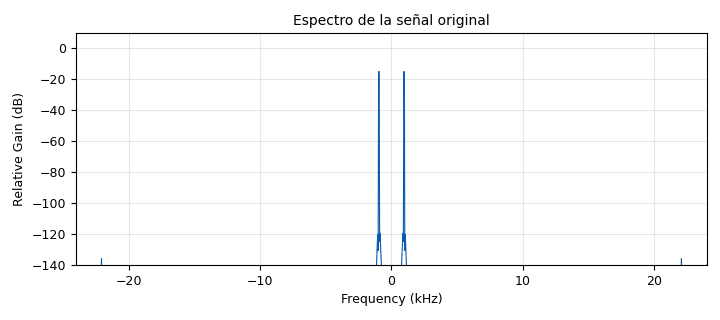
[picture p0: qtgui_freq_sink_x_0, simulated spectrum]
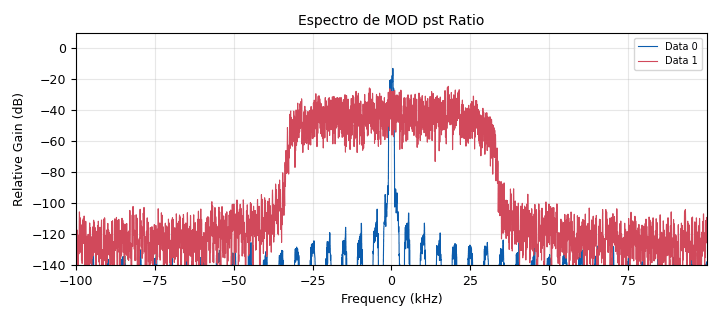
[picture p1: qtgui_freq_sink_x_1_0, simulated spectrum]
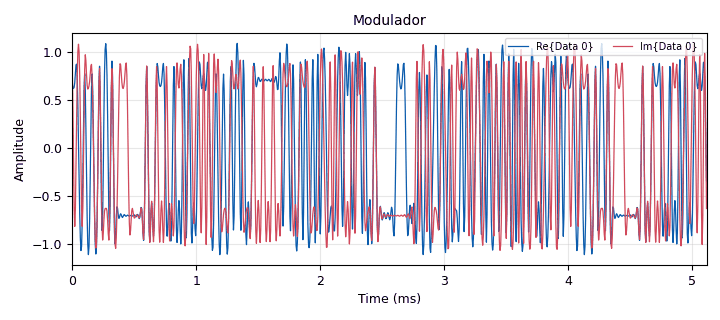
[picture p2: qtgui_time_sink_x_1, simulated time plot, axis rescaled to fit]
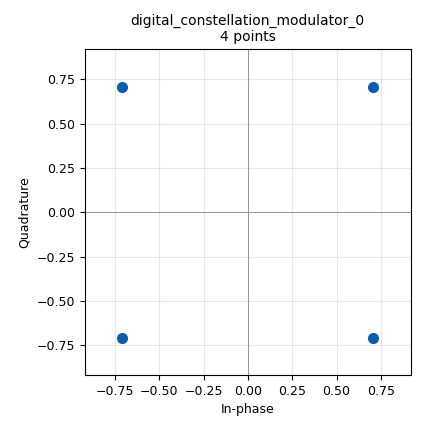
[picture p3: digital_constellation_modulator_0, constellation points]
options:
  parameters:
    category: Custom
    generate_options: qt_gui
    id: qpsk_modem
    output_language: python
    title: QPSK Modulator / Demodulator (modem)
  states: {}

blocks:
- name: excess_bw
  id: variable
  parameters:
    value: '0.35'
  states: {}
- name: phase_bw
  id: variable
  parameters:
    value: '0.0628'
  states: {}
- name: qpsk
  id: variable_constellation_rect
  parameters:
    comment: |-
      Symbol Map: [0,1,3,2] <- This is Gray coding
      Constellation Points: [-0.707-0.707j, 0.707-0.707j, +0.707+0.707j, -0.707+0.707j]
    const_points: '[-0.707-0.707j, 0.707-0.707j, +0.707+0.707j, -0.707+0.707j]'
    imag_sect: '2'
    real_sect: '2'
    rot_sym: '4'
    sym_map: '[0, 1, 3, 2]'
    w_imag_sect: '1'
    w_real_sect: '1'
  states: {}
- name: samp_rate
  id: variable
  parameters:
    value: 200e3
  states: {}
- name: sps
  id: variable
  parameters:
    value: '4'
  states: {}
- name: analog_sig_source_x_0
  id: analog_sig_source_x
  parameters:
    amp: '1'
    freq: '1000'
    offset: '0'
    phase: '0'
    samp_rate: '50000'
    type: float
    waveform: analog.GR_SIN_WAVE
  states: {}
- name: blocks_file_sink_0
  id: blocks_file_sink
  parameters:
    file: C:\Users\angie\Desktop\GNU Radio\tx201026_1
    type: complex
  states: {}
- name: blocks_float_to_char_0
  id: blocks_float_to_char
  parameters:
    scale: '127'
  states: {}
- name: blocks_throttle2_0
  id: blocks_throttle2
  parameters:
    samples_per_second: '50000'
    type: float
  states: {}
- name: digital_constellation_modulator_0
  id: digital_constellation_modulator
  parameters:
    constellation: qpsk
    differential: 'True'
    excess_bw: excess_bw
    samples_per_symbol: sps
  states: {}
- name: qtgui_freq_sink_x_0
  id: qtgui_freq_sink_x
  parameters:
    bw: 48e3
    fc: '0'
    fftsize: '4096'
    gui_hint: wid@0
    name: '"Espectro de la señal original"'
    type: float
  states: {}
- name: qtgui_freq_sink_x_1_0
  id: qtgui_freq_sink_x
  parameters:
    bw: samp_rate
    fc: '0'
    fftsize: '4096'
    gui_hint: wid@1
    name: '"Espectro de MOD pst Ratio"'
    nconnections: '2'
    type: complex
  states: {}
- name: qtgui_time_sink_x_1
  id: qtgui_time_sink_x
  parameters:
    ctrlpanel: 'True'
    gui_hint: wid@0
    name: '"Modulador"'
    size: '1024'
    srate: samp_rate
    type: complex
  states: {}
- name: rational_resampler_xxx_0
  id: rational_resampler_xxx
  parameters:
    decim: '1'
    interp: '40'
    type: ccc
  states: {}
- name: wid
  id: qtgui_tab_widget
  parameters:
    label0: Original
    label1: Espectros
    num_tabs: '2'
  states: {}

connections:
- [analog_sig_source_x_0, '0', blocks_throttle2_0, '0']
- [analog_sig_source_x_0, '0', qtgui_freq_sink_x_0, '0']
- [blocks_float_to_char_0, '0', digital_constellation_modulator_0, '0']
- [blocks_throttle2_0, '0', blocks_float_to_char_0, '0']
- [digital_constellation_modulator_0, '0', blocks_file_sink_0, '0']
- [digital_constellation_modulator_0, '0', qtgui_freq_sink_x_1_0, '1']
- [digital_constellation_modulator_0, '0', qtgui_time_sink_x_1, '0']
- [digital_constellation_modulator_0, '0', rational_resampler_xxx_0, '0']
- [rational_resampler_xxx_0, '0', qtgui_freq_sink_x_1_0, '0']

metadata:
  file_format: 1
  grc_version: 3.10.12.0
